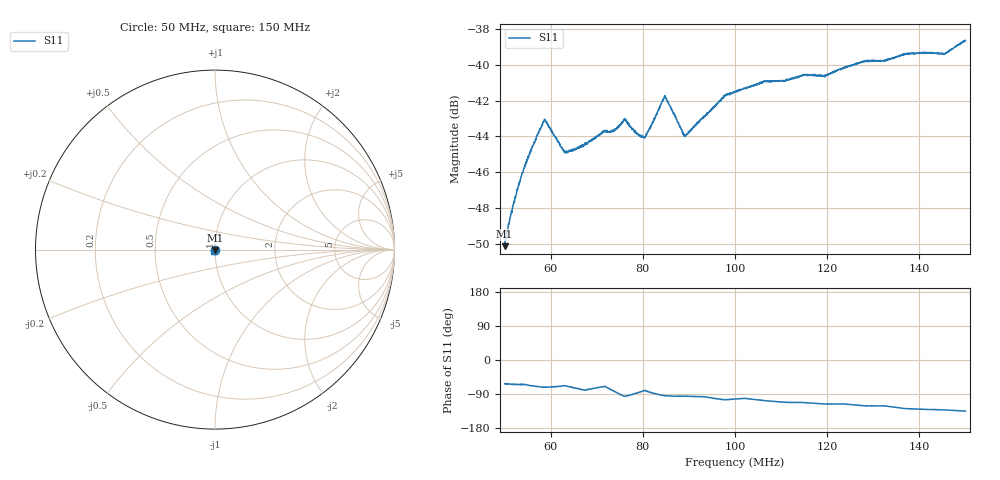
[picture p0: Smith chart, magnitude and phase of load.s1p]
! COPPER MOUNTAIN TECHNOLOGIES, PLANAR TR1300/1, 00090118, 19.1.1/1.0
! Date: 11/26/2019 2:58:56 PM
! Data: Format [Calibration Info]
! Freq  S11: Re/Im F1
# HZ S RI R 50
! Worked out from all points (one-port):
!   2001 points, 50 MHz to 150 MHz, reference 50 ohm
!   lowest |S11| = -50.1 dB at 50 MHz (marker M1), VSWR 1.01, Z = 50.1 - j0.277 ohm
!   |S11| at or under -10 dB: start of sweep to end of sweep
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5e7  0.00144 -0.00276
5.175e7  0.00175 -0.0036
5.37e7  0.00214 -0.00444
5.83e7  0.00218 -0.00651
5.905e7  0.00214 -0.00656
6.25e7  0.00212 -0.00542
6.345e7  0.00208 -0.00531
6.535e7  0.0016 -0.00559
7.14e7  0.00218 -0.00613
7.325e7  0.00123 -0.00641
7.5e7  -2.67e-05 -0.00676
7.625e7  -0.000689 -0.00695
7.895e7  0.000452 -0.00637
8.035e7  0.00103 -0.00617
8.475e7  -0.000623 -0.00818
8.75e7  -0.00067 -0.0069
8.875e7  -0.000581 -0.00636
8.94e7  -0.000584 -0.00637
9.755e7  -0.00207 -0.00789
1e8  -0.00191 -0.00819
1.0655e8  -0.00269 -0.0086
1.125e8  -0.0034 -0.00851
1.1515e8  -0.00358 -0.00869
1.194e8  -0.00407 -0.00831
1.25e8  -0.00453 -0.00881
1.375e8  -0.00666 -0.00841
1.454e8  -0.00714 -0.00801
1.5e8  -0.00825 -0.00828
